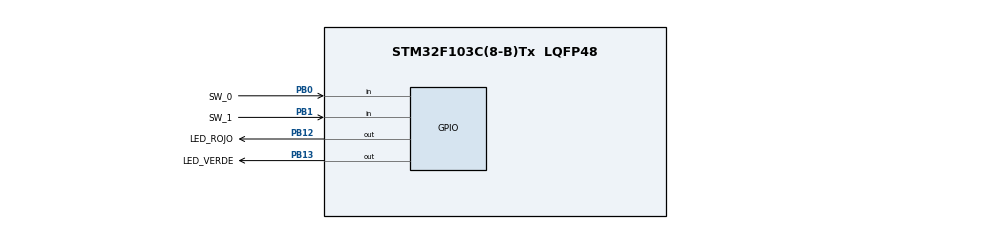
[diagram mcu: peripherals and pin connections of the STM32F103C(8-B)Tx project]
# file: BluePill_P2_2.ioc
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Mcu.Family=STM32F1
Mcu.Name=STM32F103C(8-B)Tx
Mcu.Package=LQFP48
NVIC.PriorityGroup=NVIC_PRIORITYGROUP_4
PA13.Mode=Serial_Wire
PA13.Signal=SYS_JTMS-SWDIO
PA14.Mode=Serial_Wire
PA14.Signal=SYS_JTCK-SWCLK
PB0.GPIO_Label=SW_0
PB0.Signal=GPIO_Input
PB1.GPIO_Label=SW_1
PB1.Signal=GPIO_Input
PB12.GPIO_Label=LED_ROJO
PB12.Signal=GPIO_Output
PB13.GPIO_Label=LED_VERDE
PB13.Signal=GPIO_Output
ProjectManager.HeapSize=0x200
ProjectManager.StackSize=0x400
ProjectManager.TargetToolchain=Makefile
RCC.APB1Freq_Value=8000000
RCC.APB2Freq_Value=8000000
board=custom

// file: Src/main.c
/* USER CODE BEGIN Header */
/**
  ******************************************************************************
  * @file           : main.c
  * @brief          : Main program body
  ******************************************************************************
  * @attention
  *
  * Copyright (c) 2025 STMicroelectronics.
  * All rights reserved.
  *
  * This software is licensed under terms that can be found in the LICENSE file
  * in the root directory of this software component.
  * If no LICENSE file comes with this software, it is provided AS-IS.
  *
  ******************************************************************************
  */
/* USER CODE END Header */
#include "main.h"

/* USER CODE BEGIN Includes */
#include <stdbool.h>
/* USER CODE END Includes */

/* USER CODE BEGIN PD */
bool sw_1_debounce(void);
/* USER CODE END PD */

/* USER CODE BEGIN PV */
static uint16_t g_SW1_state = 0;
/* USER CODE END PV */

void SystemClock_Config(void);
static void MX_GPIO_Init(void);

int main(void)
{

  /* MCU Configuration--------------------------------------------------------*/

  /* Reset of all peripherals, Initializes the Flash interface and the Systick. */
  HAL_Init();

  /* Configure the system clock */
  SystemClock_Config();

  /* Initialize all configured peripherals */
  MX_GPIO_Init();
  /* USER CODE BEGIN 2 */

  uint32_t last_tick = 0;

  /* USER CODE END 2 */

  /* Infinite loop */
  /* USER CODE BEGIN WHILE */
  while (1)
  {
    /* Obtener tick de systema (ms) */
    uint32_t now = HAL_GetTick();

    if ((now - last_tick) >= 2) // Intervalo de 2 ms.
    {
        /* Si el intervalo se cumple, ejecutar anti-rebote */
        last_tick = now;
        if (sw_1_debounce() )
        {
          HAL_GPIO_TogglePin(GPIOB, LED_ROJO_Pin);
        }
    }

    /* Leer PB1 y copiar su estado a PB13 */
    GPIO_PinState pinState = HAL_GPIO_ReadPin(GPIOB, GPIO_PIN_0);
    HAL_GPIO_WritePin(GPIOB, LED_VERDE_Pin, pinState);

    /* USER CODE END WHILE */

  }
}

void SystemClock_Config(void)
{
  RCC_OscInitTypeDef RCC_OscInitStruct = {0};
  RCC_ClkInitTypeDef RCC_ClkInitStruct = {0};

  /** Initializes the RCC Oscillators according to the specified parameters
  * in the RCC_OscInitTypeDef structure.
  */
  RCC_OscInitStruct.OscillatorType = RCC_OSCILLATORTYPE_HSI;
  RCC_OscInitStruct.HSIState = RCC_HSI_ON;
  RCC_OscInitStruct.HSICalibrationValue = RCC_HSICALIBRATION_DEFAULT;
  RCC_OscInitStruct.PLL.PLLState = RCC_PLL_NONE;
  if (HAL_RCC_OscConfig(&RCC_OscInitStruct) != HAL_OK)
  {
    Error_Handler();
  }

  /** Initializes the CPU, AHB and APB buses clocks
  */
  RCC_ClkInitStruct.ClockType = RCC_CLOCKTYPE_HCLK|RCC_CLOCKTYPE_SYSCLK
                              |RCC_CLOCKTYPE_PCLK1|RCC_CLOCKTYPE_PCLK2;
  RCC_ClkInitStruct.SYSCLKSource = RCC_SYSCLKSOURCE_HSI;
  RCC_ClkInitStruct.AHBCLKDivider = RCC_SYSCLK_DIV1;
  RCC_ClkInitStruct.APB1CLKDivider = RCC_HCLK_DIV1;
  RCC_ClkInitStruct.APB2CLKDivider = RCC_HCLK_DIV1;

  if (HAL_RCC_ClockConfig(&RCC_ClkInitStruct, FLASH_LATENCY_0) != HAL_OK)
  {
    Error_Handler();
  }
}

static void MX_GPIO_Init(void)
{
  GPIO_InitTypeDef GPIO_InitStruct = {0};

  /* GPIO Ports Clock Enable */
  __HAL_RCC_GPIOB_CLK_ENABLE();
  __HAL_RCC_GPIOA_CLK_ENABLE();

  /*Configure GPIO pin Output Level */
  HAL_GPIO_WritePin(GPIOB, LED_ROJO_Pin|LED_VERDE_Pin, GPIO_PIN_RESET);

  /*Configure GPIO pins : SW_0_Pin SW_1_Pin */
  GPIO_InitStruct.Pin = SW_0_Pin|SW_1_Pin;
  GPIO_InitStruct.Mode = GPIO_MODE_INPUT;
  GPIO_InitStruct.Pull = GPIO_NOPULL;
  HAL_GPIO_Init(GPIOB, &GPIO_InitStruct);

  /*Configure GPIO pins : LED_ROJO_Pin LED_VERDE_Pin */
  GPIO_InitStruct.Pin = LED_ROJO_Pin|LED_VERDE_Pin;
  GPIO_InitStruct.Mode = GPIO_MODE_OUTPUT_PP;
  GPIO_InitStruct.Pull = GPIO_NOPULL;
  GPIO_InitStruct.Speed = GPIO_SPEED_FREQ_LOW;
  HAL_GPIO_Init(GPIOB, &GPIO_InitStruct);

}

/* USER CODE BEGIN 4 */

/**
  * @brief  Función anti-rebote.
  * @retval Verdadero cuando se detecta una trasición de subida estable,
  *         Falso en caso contrario.
  */
bool sw_1_debounce(void)
{
    g_SW1_state = (g_SW1_state<<1) | !HAL_GPIO_ReadPin(GPIOB, GPIO_PIN_1) | 0xe000;
    if(g_SW1_state==0xf000) return true;
    return false;
}
/* USER CODE END 4 */

void Error_Handler(void)
{
  __disable_irq();
  while (1)
  {
  }
}
